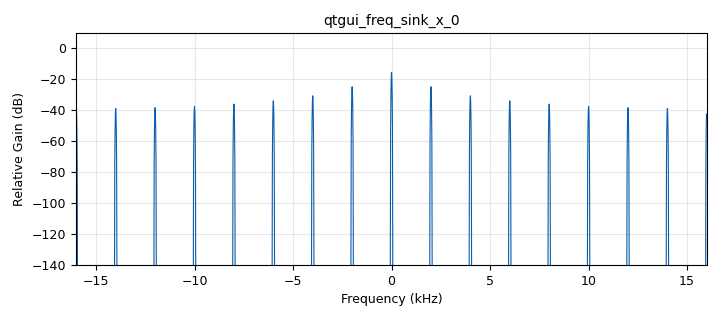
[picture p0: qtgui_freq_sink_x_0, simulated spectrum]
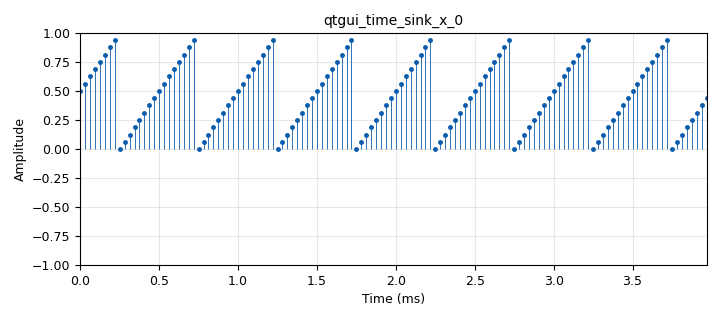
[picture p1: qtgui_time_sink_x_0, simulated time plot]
options:
  parameters:
    author: Diana_Ariza_Cristian_Rugeles_L1A_G2
    generate_options: qt_gui
    id: Lab1_punto2
    output_language: python
    title: Lab1_punto2_muestreo
  states: {}

blocks:
- name: freq
  id: variable_qtgui_range
  parameters:
    label: frecuency
    start: '1000'
    step: '1000'
    stop: '40000'
    value: '2000'
  states: {}
- name: samp_rate
  id: variable_qtgui_range
  parameters:
    label: Muestreo
    start: '1000'
    step: '1000'
    stop: '48000'
    value: '32000'
  states: {}
- name: analog_sig_source_x_0
  id: analog_sig_source_x
  parameters:
    amp: '1'
    freq: freq
    offset: '0'
    phase: '0'
    samp_rate: samp_rate
    type: float
    waveform: analog.GR_SAW_WAVE
  states: {}
- name: blocks_throttle_0
  id: blocks_throttle
  parameters:
    samples_per_second: samp_rate
    type: float
  states: {}
- name: qtgui_freq_sink_x_0
  id: qtgui_freq_sink_x
  parameters:
    bw: samp_rate
    fc: '0'
    fftsize: '2048'
    type: float
  states: {}
- name: qtgui_time_sink_x_0
  id: qtgui_time_sink_x
  parameters:
    size: '128'
    srate: samp_rate
    stemplot: 'True'
    type: float
  states: {}

connections:
- [analog_sig_source_x_0, '0', blocks_throttle_0, '0']
- [blocks_throttle_0, '0', qtgui_freq_sink_x_0, '0']
- [blocks_throttle_0, '0', qtgui_time_sink_x_0, '0']

metadata:
  file_format: 1
